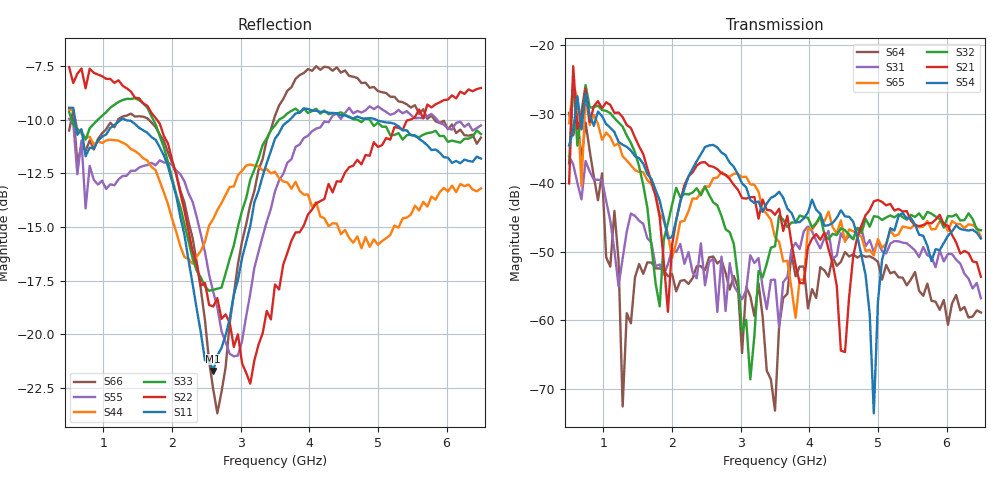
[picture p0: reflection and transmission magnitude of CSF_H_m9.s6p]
!Keysight Technologies,M9804A,MY58100912,A.14.10.03
!Date: Thursday, April 27, 2023 10:28:33
!Correction: S11(C  6-Port  )
!S12(C  6-Port  )
!S13(C  6-Port  )
!S14(C  6-Port  )
!S15(C  6-Port  )
!S16(C  6-Port  )
!S21(C  6-Port  )
!S22(C  6-Port  )
!S23(C  6-Port  )
!S24(C  6-Port  )
!S25(C  6-Port  )
!S26(C  6-Port  )
!S31(C  6-Port  )
!S32(C  6-Port  )
!S33(C  6-Port  )
!S34(C  6-Port  )
!S35(C  6-Port  )
!S36(C  6-Port  )
!S41(C  6-Port  )
!S42(C  6-Port  )
!S43(C  6-Port  )
!S44(C  6-Port  )
!S45(C  6-Port  )
!S46(C  6-Port  )
!S51(C  6-Port  )
!S52(C  6-Port  )
!S53(C  6-Port  )
!S54(C  6-Port  )
!S55(C  6-Port  )
!S56(C  6-Port  )
!S61(C  6-Port  )
!S62(C  6-Port  )
!S63(C  6-Port  )
!S64(C  6-Port  )
!S65(C  6-Port  )
!S66(C  6-Port  )
!S6P File: Measurement: :
# Hz S  RI  R 50
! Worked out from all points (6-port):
!   101 points, 500 MHz to 6.5 GHz, reference 50 ohm
!   strongest paths, dB at 500 MHz, 2 GHz, 3.5 GHz, 5 GHz, 6.5 GHz:
!     S54: -34.6, -47.9, -41.9, -57.3, -48.1
!     S21: -40.1, -49.0, -44.7, -42.5, -53.7
!     S32: -37.2, -43.2, -49.2, -45.0, -46.9
!     S65: -31.3, -50.9, -47.9, -48.2, -47.9
!     S31: -36.2, -49.6, -54.1, -48.5, -56.8
!     S64: -29.8, -53.3, -73.1, -51.5, -58.9
!   lowest |S11| = -21.7 dB at 2.6 GHz (marker M1), VSWR 1.18, Z = 42.7 + j1.97 ohm
!   |S11| at or under -10 dB: 586.2 MHz to 1.26 GHz (673.3 MHz wide, 73 % of centre); 1.315 GHz to 3.717 GHz (2.402 GHz wide, 95.4 % of centre); 4.968 GHz to end of sweep
